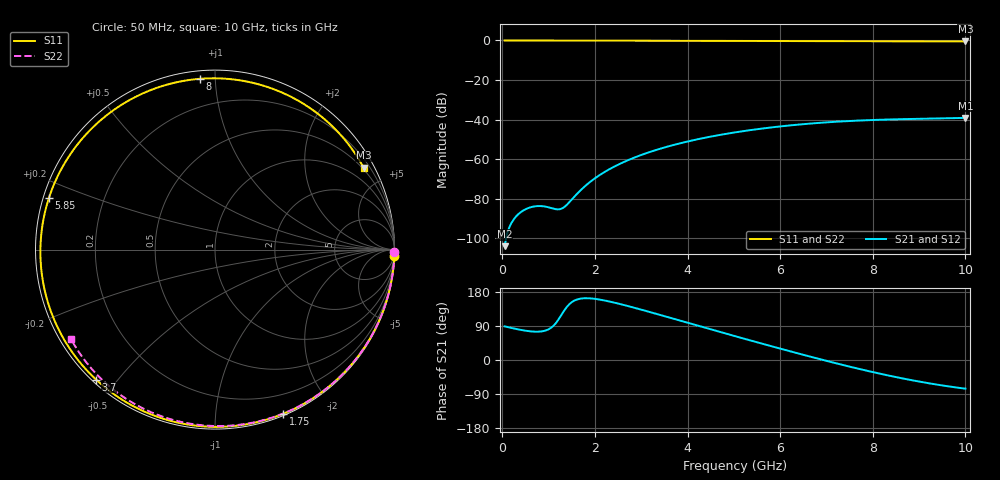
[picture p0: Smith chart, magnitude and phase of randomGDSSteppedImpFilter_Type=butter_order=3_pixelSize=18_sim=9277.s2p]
! freq	dB(S11)	phase(S11)	dB(S12)	phase(S12)
!  dB(S21)	phase(S21)	dB(S22)	phase(S22)
!S-par simulation data
#  GHz  S  DB  R 50
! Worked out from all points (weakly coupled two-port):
!   200 points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, 50 MHz to 10 GHz, reference 50 ohm
!   highest |S21| = -39.18 dB at 10 GHz (marker M1); lowest = -104.1 dB at 50 MHz (marker M2)
!   lowest |S11| = -0.5 dB at 10 GHz (marker M3), VSWR 35.59, Z = 22.4 + j192 ohm
!   |S11| at or under -10 dB: nowhere
!   |S22| runs from -0.5 to 0.0 dB; largest |S21 - S12| = 0
!   S11 on the Smith chart (normalised r, x): 50 MHz: 0, -57; 1.75 GHz: 0.02, -1.50; 3.7 GHz: 0.01, -0.44; 5.85 GHz: 0.02, +0.15; 8 GHz: 0.04, +0.91; 10 GHz: 0.45, +3.84
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0.05  -0.00 -2.0  -104.09 88.8  -104.09 88.8  -0.00 -0.9
0.35  -0.02 -13.9  -87.82 80.6  -87.82 80.6  -0.01 -6.0
0.7  -0.04 -27.7  -83.95 74.8  -83.95 74.8  -0.02 -12.0
1.1  -0.05 -43.2  -85.08 89.8  -85.08 89.8  -0.02 -18.8
1.5  -0.07 -58.2  -80.51 152.6  -80.51 152.6  -0.03 -25.5
1.75  -0.08 -67.4  -74.48 162.8  -74.48 162.8  -0.04 -29.7
2.05  -0.09 -78.1  -68.93 160.5  -68.93 160.5  -0.04 -34.6
2.45  -0.11 -92.0  -63.46 150.5  -63.46 150.5  -0.05 -41.2
2.9  -0.13 -107.0  -58.82 136.3  -58.82 136.3  -0.06 -48.4
3.4  -0.15 -123.1  -54.84 119.2  -54.84 119.2  -0.07 -56.3
3.7  -0.16 -132.5  -52.87 108.8  -52.87 108.8  -0.08 -61.0
4.4  -0.19 -153.8  -49.11 84.4  -49.11 84.4  -0.10 -71.7
5.05  -0.23 -173.3  -46.43 62.0  -46.43 62.0  -0.12 -81.3
5.85  -0.27 162.8  -43.89 35.1  -43.89 35.1  -0.16 -92.7
6.25  -0.30 150.7  -42.89 21.8  -42.89 21.8  -0.18 -98.3
6.7  -0.33 136.8  -41.96 7.3  -41.96 7.3  -0.20 -104.5
7.4  -0.37 114.7  -40.87 -14.5  -40.87 -14.5  -0.25 -113.9
8  -0.40 95.1  -40.25 -31.9  -40.25 -31.9  -0.29 -121.9
8.35  -0.41 83.5  -39.99 -41.3  -39.99 -41.3  -0.32 -126.5
9.1  -0.44 58.5  -39.59 -59.1  -39.59 -59.1  -0.40 -136.2
9.55  -0.46 43.5  -39.40 -68.1  -39.40 -68.1  -0.44 -142.1
10  -0.49 28.8  -39.18 -75.6  -39.18 -75.6  -0.50 -148.0
